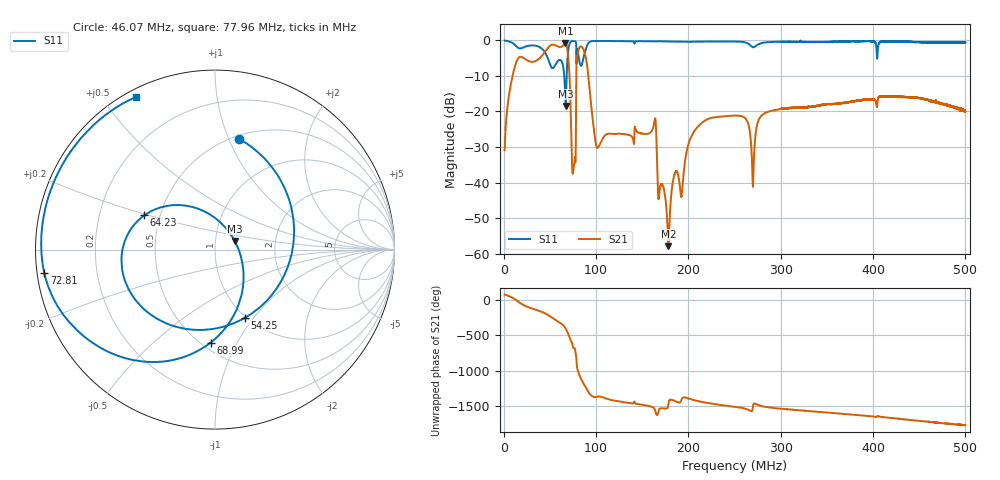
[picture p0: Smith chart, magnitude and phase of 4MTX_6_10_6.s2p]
! NanoVNA-App
! Date: 2026-08-18 21:54:26
! Start: 1MHz Stop: 500MHz Points: 6401
! S-Parameter data: F S11 S21 S12 S22
# Hz S RI R 50
!  Frequency  S11_Real  S11_Imag  S21_Real  S21_Imag  S12_Real  S12_Imag  S22_Real  S22_Imag
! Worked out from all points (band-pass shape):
!   6401 points, 1 MHz to 500 MHz, reference 50 ohm
!   highest |S21| = -0.89 dB at 66.88 MHz (marker M1); lowest = -57.8 dB at 178.5 MHz (marker M2)
!   |S21| within 3 dB of the highest: 42.85 MHz to 69.53 MHz (26.68 MHz wide, 47.5 % of centre); 80.32 MHz to 88.05 MHz (7.733 MHz wide, 9.19 % of centre)
!   lowest |S11| = -18.5 dB at 67.2 MHz (marker M3), VSWR 1.27, Z = 61.9 + j6.1 ohm
!   |S11| at or under -10 dB: 65.57 MHz to 68.22 MHz (2.653 MHz wide, 3.97 % of centre)
!   S12 and S22 are empty: the file has one direction only
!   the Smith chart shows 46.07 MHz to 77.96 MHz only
!   S11 on the Smith chart (normalised r, x): 46.07 MHz: 0.54, +1.09; 54.25 MHz: 0.98, -0.90; 64.23 MHz: 0.41, +0.19; 68.99 MHz: 0.55, -0.79; 72.81 MHz: 0.02, -0.07; 77.96 MHz: 0.03, +0.61
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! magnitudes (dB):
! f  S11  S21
! 1 MHz  -0.1  -30.9
! 14.49 MHz  -1.9  -5.6
! 46.07 MHz  -4.0  -2.7
! 54.25 MHz  -7.6  -1.3
! 64.23 MHz  -7.2  -1.5
! 66.88 MHz  -17.4  -0.9
! 67.2 MHz  -18.5  -0.9
! 68.99 MHz  -5.7  -2.7
! 72.81 MHz  -0.4  -22.7
! 75.69 MHz  -0.2  -35.8
! 77.96 MHz  -0.4  -32.0
! 84.19 MHz  -7.1  -1.8
! 101.3 MHz  -0.2  -30.2
! 162.7 MHz  -0.3  -23.6
! 167.4 MHz  -0.3  -44.1
! 178.5 MHz  -0.3  -57.8
! 205.8 MHz  -0.4  -25.8
! 250.5 MHz  -0.4  -21.2
! 269.9 MHz  -2.0  -41.2
! 333.7 MHz  -0.5  -18.6
! 416.9 MHz  -0.4  -15.8
! 500 MHz  -0.6  -20.0
